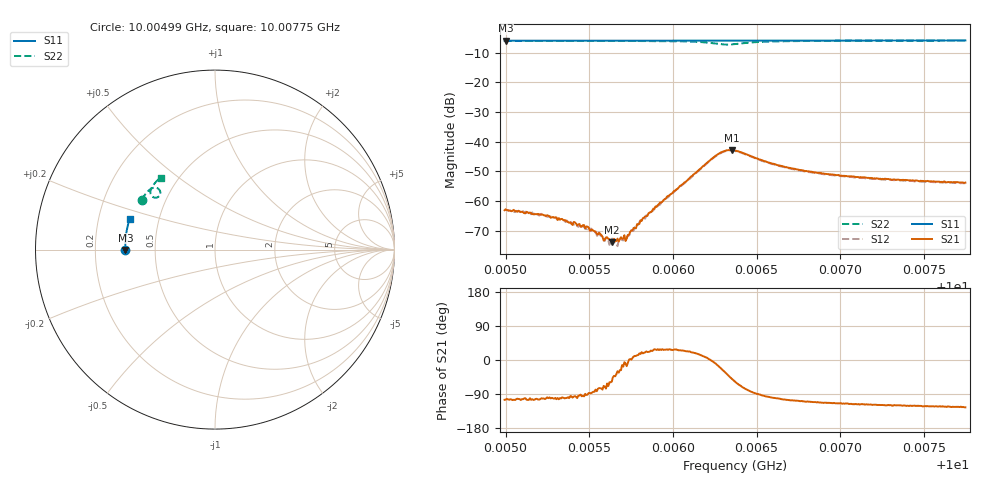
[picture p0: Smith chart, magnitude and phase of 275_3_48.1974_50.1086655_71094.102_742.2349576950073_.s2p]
#  HZ  S  RI  R  50.00
! Rohde & Schwarz Vector Network Analyzer
! Rohde-Schwarz,ZNB20-2Port,1311601062101988,3.16
! Created: UTC 3/20/2024, 11:48:20 AM
! freq[Hz]  re:S11  im:S11  re:S21  im:S21  re:S12  im:S12  re:S22  im:S22
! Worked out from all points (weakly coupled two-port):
!   401 points, 10.00499 GHz to 10.00775 GHz, reference 50 ohm
!   highest |S21| = -42.81 dB at 10.00635 GHz (marker M1); lowest = -73.8 dB at 10.00563 GHz (marker M2)
!   lowest |S11| = -6.0 dB at 10.005 GHz (marker M3), VSWR 3.00, Z = 16.7 - j0.0973 ohm
!   |S11| at or under -10 dB: nowhere
!   |S22| runs from -7.3 to -6.0 dB; largest |S21 - S12| = 0.00039
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1.0004994e10  -0.4996 -0.00248  -0.000181 -0.000676  -0.000109 -0.000705  -0.4092 0.2776
1.0005001e10  -0.4995 -0.00219  -0.000185 -0.000703  -0.00014 -0.000697  -0.4091 0.2781
1.0005222e10  -0.4999 0.0123  -0.00012 -0.000579  -8.45e-05 -0.000581  -0.4007 0.2911
1.0005456e10  -0.4997 0.0274  -3.7e-05 -0.000372  -4.23e-06 -0.000371  -0.3909 0.3053
1.0005559e10  -0.4995 0.0341  8.05e-05 -0.00028  5.55e-05 -0.000292  -0.386 0.3113
1.0005586e10  -0.4995 0.0359  7.98e-05 -0.000201  0.000109 -0.000222  -0.3848 0.313
1.0005607e10  -0.4993 0.0374  0.000115 -0.000216  0.000112 -0.000201  -0.3836 0.3143
1.0005635e10  -0.4993 0.0391  0.000111 -0.000172  0.000153 -0.000174  -0.3823 0.3161
1.0005662e10  -0.4992 0.0408  0.00017 -0.000131  0.00016 -0.000104  -0.3806 0.3178
1.0005731e10  -0.499 0.0452  0.000264 -3.26e-05  0.000269 -5.22e-06  -0.3769 0.322
1.0005752e10  -0.4989 0.0467  0.00032 4.88e-06  0.000323 1e-05  -0.3756 0.3235
1.000582e10  -0.4986 0.051  0.000489 0.000155  0.000465 0.000163  -0.3711 0.3279
1.0005917e10  -0.498 0.0573  0.000795 0.000394  0.000743 0.000428  -0.3636 0.3343
1.0006247e10  -0.4954 0.0784  0.0055 -0.000659  0.00544 -0.000392  -0.3074 0.3296
1.0006302e10  -0.4948 0.0818  0.00604 -0.00324  0.00607 -0.0029  -0.306 0.3064
1.0006351e10  -0.4944 0.0847  0.00475 -0.00546  0.00492 -0.0051  -0.3214 0.291
1.0006371e10  -0.4944 0.0859  0.00384 -0.00597  0.00405 -0.00566  -0.3301 0.2891
1.0006626e10  -0.4923 0.1021  -0.000804 -0.00393  -0.000632 -0.00391  -0.3589 0.3308
1.0006833e10  -0.4899 0.1154  -0.00111 -0.00289  -0.000943 -0.00285  -0.3498 0.351
1.0007039e10  -0.487 0.1284  -0.00109 -0.00239  -0.000992 -0.00235  -0.3396 0.3651
1.0007294e10  -0.4832 0.1444  -0.00114 -0.00203  -0.00102 -0.00205  -0.3267 0.3793
1.0007748e10  -0.4747 0.1724  -0.00117 -0.00167  -0.00105 -0.0017  -0.3036 0.4011
